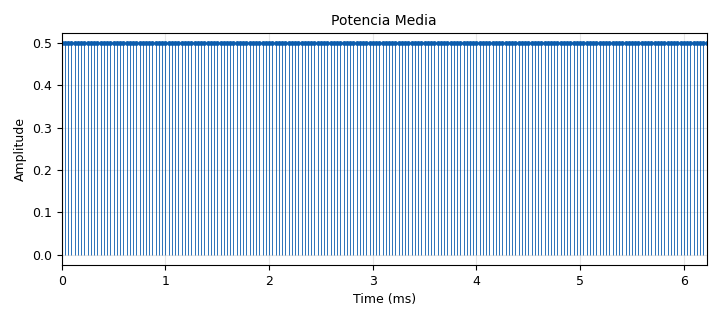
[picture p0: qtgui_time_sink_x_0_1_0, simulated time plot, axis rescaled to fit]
options:
  parameters:
    generate_options: qt_gui
    id: Ejercicio9f
    output_language: python
    title: Not titled yet
  states: {}

blocks:
- name: samp_rate
  id: variable
  parameters:
    value: '32000'
  states: {}
- name: analog_sig_source_x_0_0
  id: analog_sig_source_x
  parameters:
    amp: '1'
    freq: '100'
    offset: '0'
    phase: '0'
    samp_rate: samp_rate
    type: float
    waveform: analog.GR_SIN_WAVE
  states: {}
- name: blocks_throttle_0_0
  id: blocks_throttle
  parameters:
    samples_per_second: samp_rate
    type: float
  states: {}
- name: epy_block_0
  id: epy_block
  parameters:
    _source_code: |-
      import numpy as np
      from gnuradio import gr
      class blk(gr.sync_block):
      	def __init__(self):
      	 gr.sync_block.__init__(
      	  self,
      	  name='Potencia media',
      	  in_sig=[np.float32],
      	  out_sig=[np.float32]
      	 )
      	def work(self, input_items, output_items):
      	 prom_cuadratico = np.mean(input_items[0] **2)
      	 prom_vec = np.repeat(prom_cuadratico,len(output_items[0]))
      	 output_items[0][:] = prom_vec
      	 return len(output_items[0])
  states: {}
- name: qtgui_time_sink_x_0_1_0
  id: qtgui_time_sink_x
  parameters:
    color1: red
    marker1: '1'
    name: Potencia Media
    size: '200'
    srate: samp_rate
    stemplot: 'True'
    type: float
  states: {}

connections:
- [analog_sig_source_x_0_0, '0', blocks_throttle_0_0, '0']
- [blocks_throttle_0_0, '0', epy_block_0, '0']
- [epy_block_0, '0', qtgui_time_sink_x_0_1_0, '0']

metadata:
  file_format: 1
  grc_version: 3.10.12.0
